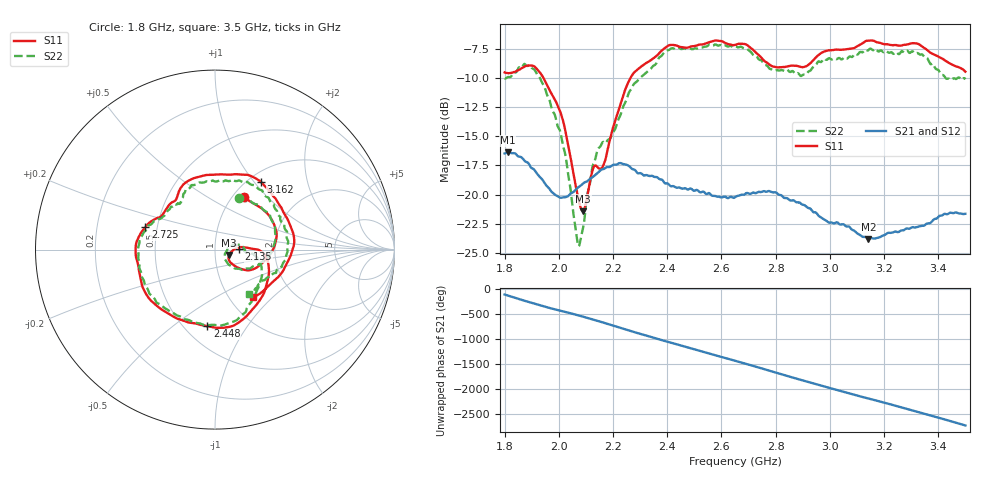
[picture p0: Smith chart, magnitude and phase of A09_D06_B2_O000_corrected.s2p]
! Created with skrf 1.9.0 (http://scikit-rf.org).
# Hz S RI R 50.0
!freq ReS11 ImS11 ReS21 ImS21 ReS12 ImS12 ReS22 ImS22
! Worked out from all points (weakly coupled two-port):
!   1601 points, 1.8 GHz to 3.5 GHz, reference 50 ohm
!   highest |S21| = -16.40 dB at 1.812 GHz (marker M1); lowest = -23.8 dB at 3.142 GHz (marker M2)
!   lowest |S11| = -21.4 dB at 2.09 GHz (marker M3), VSWR 1.19, Z = 58.5 - j3.5 ohm
!   |S11| at or under -10 dB: 1.943 GHz to 2.265 GHz (321.2 MHz wide, 15.3 % of centre)
!   |S22| runs from -24.4 to -7.1 dB; largest |S21 - S12| = 0.0026
!   S11 on the Smith chart (normalised r, x): 1.8 GHz: 1.12, +0.74; 2.135 GHz: 1.31, +0.01; 2.448 GHz: 0.64, -0.67; 2.725 GHz: 0.43, +0.13; 3.162 GHz: 1.14, +1.09; 3.5 GHz: 1.28, -0.76
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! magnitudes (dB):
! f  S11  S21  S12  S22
! 1.8 GHz  -9.5  -16.5  -16.5  -10.0
! 1.812 GHz  -9.6  -16.4  -16.4  -9.9
! 1.88 GHz  -9.0  -17.2  -17.2  -8.9
! 1.941 GHz  -9.9  -18.8  -18.8  -10.5
! 2.013 GHz  -13.4  -20.3  -20.3  -15.5
! 2.067 GHz  -19.7  -19.5  -19.5  -23.8
! 2.084 GHz  -21.3  -19.2  -19.1  -23.4
! 2.09 GHz  -21.4  -19.0  -19.1  -22.8
! 2.135 GHz  -17.5  -18.3  -18.3  -16.9
! 2.166 GHz  -17.4  -17.8  -17.8  -15.5
! 2.265 GHz  -10.0  -17.7  -17.7  -11.0
! 2.367 GHz  -8.0  -18.6  -18.5  -8.4
! 2.448 GHz  -7.4  -19.4  -19.4  -7.5
! 2.65 GHz  -7.2  -20.2  -20.2  -7.3
! 2.725 GHz  -7.8  -19.9  -19.9  -8.1
! 2.799 GHz  -9.1  -19.8  -19.8  -9.4
! 2.934 GHz  -8.6  -21.4  -21.3  -9.2
! 3.142 GHz  -6.8  -23.8  -23.7  -7.6
! 3.162 GHz  -6.8  -23.8  -23.7  -7.6
! 3.217 GHz  -7.1  -23.3  -23.3  -7.8
! 3.324 GHz  -7.1  -22.8  -22.7  -7.9
! 3.5 GHz  -9.5  -21.7  -21.6  -10.1
